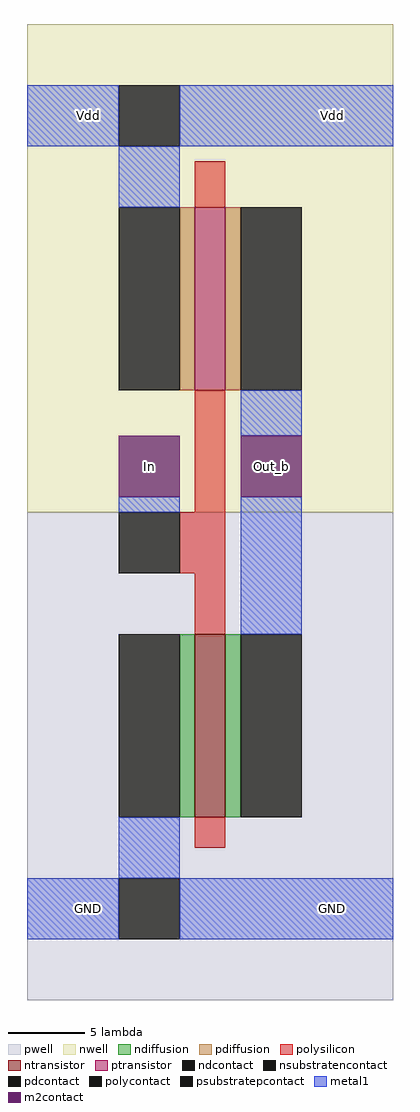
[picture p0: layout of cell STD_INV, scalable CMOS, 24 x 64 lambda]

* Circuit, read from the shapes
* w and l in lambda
.subckt STD_INV GND In Out_b Vdd
M1 Out_b In GND GND nfet w=12 l=2
M2 Out_b In Vdd Vdd pfet w=12 l=2
.ends

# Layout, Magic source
magic
tech scmos
<< pwell >>
rect 0 0 24 32
<< nwell >>
rect 0 32 24 64
<< polysilicon >>
rect 11 52 13 55
rect 11 32 13 40
rect 10 28 13 32
rect 11 24 13 28
rect 11 10 13 12
<< ndiffusion >>
rect 10 12 11 24
rect 13 12 14 24
<< pdiffusion >>
rect 10 40 11 52
rect 13 40 14 52
<< metal1 >>
rect 0 56 6 60
rect 10 56 24 60
rect 6 52 10 56
rect 14 37 18 40
rect 6 32 10 33
rect 14 24 18 33
rect 6 8 10 12
rect 0 4 6 8
rect 10 4 24 8
<< ntransistor >>
rect 11 12 13 24
<< ptransistor >>
rect 11 40 13 52
<< polycontact >>
rect 6 28 10 32
<< ndcontact >>
rect 6 12 10 24
rect 14 12 18 24
<< pdcontact >>
rect 6 40 10 52
rect 14 40 18 52
<< m2contact >>
rect 6 33 10 37
rect 14 33 18 37
<< psubstratepcontact >>
rect 6 4 10 8
<< nsubstratencontact >>
rect 6 56 10 60
<< labels >>
rlabel m2contact 8 35 8 35 6 In
rlabel m2contact 16 35 16 35 6 Out_b
rlabel metal1 4 58 4 58 6 Vdd
rlabel metal1 20 58 20 58 6 Vdd
rlabel metal1 4 6 4 6 6 GND
rlabel metal1 20 6 20 6 6 GND
<< end >>
